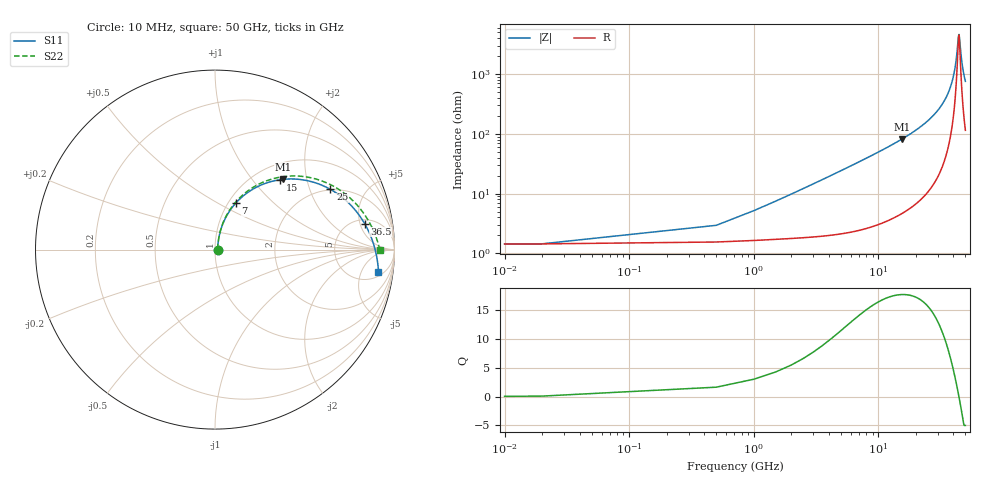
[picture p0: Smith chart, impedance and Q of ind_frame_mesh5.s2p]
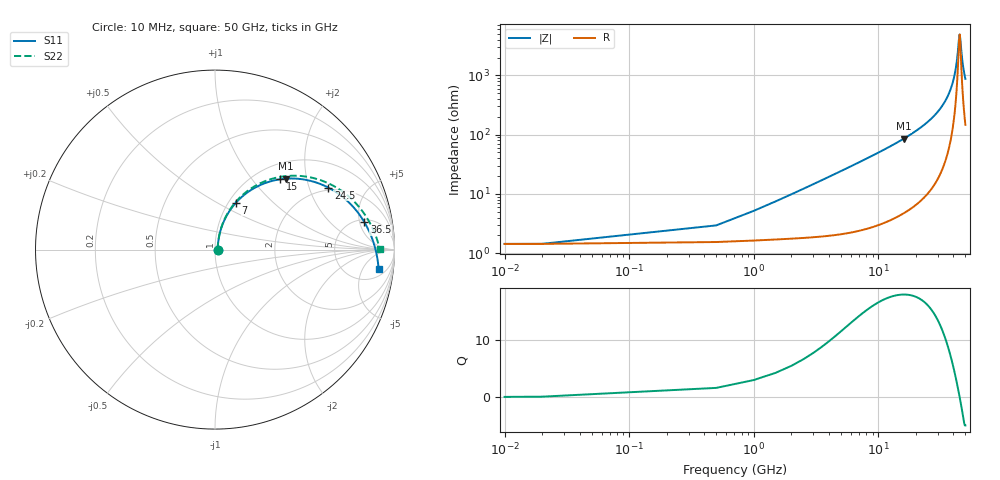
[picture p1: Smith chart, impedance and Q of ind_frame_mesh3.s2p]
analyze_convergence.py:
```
#!/usr/bin/env python
"""Mesh convergence analysis for the ind_frame spiral inductor (2-port).

Reads de-embedded 2-port Touchstone files from results/snp/, computes
delta-S tables and overlay plots across mesh variants (order=2 uniform
sweep + AMR), following the same convention as the balun and transformer
mesh convergence studies: Max|dS| is the linear complex-magnitude
difference over the common frequency band; dB readouts are given at a
few representative frequencies.

S12 is not shown separately (S12==S21 by reciprocity for this passive
2-port); only S11, S21, S22 are analyzed.
"""
import os
import csv
import numpy as np
import skrf as rf
import matplotlib
matplotlib.use("Agg")
import matplotlib.pyplot as plt

HERE = os.path.dirname(os.path.abspath(__file__))
SNP_DIR = os.path.join(HERE, "snp")
PLOT_DIR = os.path.join(HERE, "plots")

UNIFORM_SERIES = [
    ("mesh5", "5 um (uniform)", "ind_frame_mesh5.s2p"),
    ("mesh3", "3 um (uniform)", "ind_frame_mesh3.s2p"),
    ("mesh2", "2 um (uniform)", "ind_frame_mesh2.s2p"),
    ("mesh1", "1 um (uniform)", "ind_frame_mesh1.s2p"),
]
AMR_ENTRY = ("amr2", "AMR (5 um start, 2 it.)", "ind_frame_amr2_final.s2p")

EVAL_FREQS_GHZ = [1, 25, 50]  # sweep edges + midpoint, matches the 0-50 GHz sweep


def load(entry):
    key, label, fname = entry
    path = os.path.join(SNP_DIR, fname)
    if not os.path.isfile(path):
        return None
    nw = rf.Network(path)
    nw.name = label
    return key, label, nw


def db(x):
    return 20 * np.log10(np.abs(x))


def deg(x):
    return np.angle(x, deg=True)


def max_delta_linear(fa, xa, fb, xb):
    common = np.intersect1d(fa, fb)
    if common.size == 0:
        return None
    ia = np.searchsorted(fa, common)
    ib = np.searchsorted(fb, common)
    return float(np.max(np.abs(xb[ib] - xa[ia])))


def delta_db_at_freq(fa, xa, fb, xb, freq_hz):
    ia = int(np.argmin(np.abs(fa - freq_hz)))
    ib = int(np.argmin(np.abs(fb - freq_hz)))
    if abs(fa[ia] - freq_hz) > 0.6e9 or abs(fb[ib] - freq_hz) > 0.6e9:
        return None
    return float(abs(db(xb[ib]) - db(xa[ia])))


PARAMS = ["S11", "S21", "S22"]


def s_traces(nw):
    s = nw.s
    return {"S11": s[:, 0, 0], "S21": s[:, 1, 0], "S22": s[:, 1, 1]}


def main():
    loaded = []
    for entry in UNIFORM_SERIES:
        result = load(entry)
        if result:
            loaded.append(result)
        else:
            print(f"WARNING: missing {entry[2]}, skipping")
    amr_result = load(AMR_ENTRY)

    if len(loaded) < 2:
        print("Need at least two uniform-mesh results; exiting.")
        return

    traces = {}
    for key, label, nw in loaded + ([amr_result] if amr_result else []):
        traces[key] = (nw.frequency.f, s_traces(nw))

    def fmt(x):
        return f"{x:.4f}" if x is not None else "n/a"

    comparisons = [(loaded[i - 1], loaded[i]) for i in range(1, len(loaded))]
    if amr_result:
        comparisons.append((loaded[-1], amr_result))

    csv_path = os.path.join(HERE, "delta_S_table.csv")
    with open(csv_path, "w", newline="") as f:
        writer = csv.writer(f)
        writer.writerow(["Param", "Comparison", "Max|dS| (linear)"] +
                         [f"|dS_dB| at {f}GHz" for f in EVAL_FREQS_GHZ])
        for pname in PARAMS:
            for (key_a, label_a, _), (key_b, label_b, _) in comparisons:
                fa, xa = traces[key_a][0], traces[key_a][1][pname]
                fb, xb = traces[key_b][0], traces[key_b][1][pname]
                max_d = max_delta_linear(fa, xa, fb, xb)
                d_vals = [delta_db_at_freq(fa, xa, fb, xb, f * 1e9) for f in EVAL_FREQS_GHZ]
                writer.writerow([pname, f"{label_a} -> {label_b}", fmt(max_d)] + [fmt(d) for d in d_vals])
    print(f"Wrote delta-S table: {csv_path}")

    ref_key, ref_label, _ = loaded[-1]
    vs_finest = list(loaded[:-1])
    if amr_result:
        vs_finest.append(amr_result)

    csv_path_ref = os.path.join(HERE, "delta_S_vs_finest.csv")
    with open(csv_path_ref, "w", newline="") as f:
        writer = csv.writer(f)
        writer.writerow(["Param", "Mesh", f"Max|dS| vs. {ref_label} (linear)"] +
                         [f"|dS_dB| at {f}GHz" for f in EVAL_FREQS_GHZ])
        for pname in PARAMS:
            for key, label, _ in vs_finest:
                fa, xa = traces[key][0], traces[key][1][pname]
                fb, xb = traces[ref_key][0], traces[ref_key][1][pname]
                max_d = max_delta_linear(fa, xa, fb, xb)
                d_vals = [delta_db_at_freq(fa, xa, fb, xb, f * 1e9) for f in EVAL_FREQS_GHZ]
                writer.writerow([pname, label, fmt(max_d)] + [fmt(d) for d in d_vals])
    print(f"Wrote delta-S-vs-finest table: {csv_path_ref}")

    os.makedirs(PLOT_DIR, exist_ok=True)
    colors = ["#4c72b0", "#dd8452", "#55a868", "#c44e52", "#8172b2", "#937860"]
    all_keys = [k for k, _, _ in loaded] + (["amr2"] if amr_result else [])
    all_labels = {k: l for k, l, _ in loaded}
    if amr_result:
        all_labels[amr_result[0]] = amr_result[1]

    for pname in PARAMS:
        fig, (ax_mag, ax_phase) = plt.subplots(2, 1, figsize=(8, 7), sharex=True)
        for idx, key in enumerate(all_keys):
            freq, pdict = traces[key]
            color = colors[idx % len(colors)]
            style = "--" if key == "amr2" else "-"
            freq_ghz = freq / 1e9
            ax_mag.plot(freq_ghz, db(pdict[pname]), color=color, linestyle=style, label=all_labels[key])
            ax_phase.plot(freq_ghz, deg(pdict[pname]), color=color, linestyle=style, label=all_labels[key])
        ax_mag.set_ylabel(f"|{pname}| (dB)")
        ax_mag.grid(True, alpha=0.3)
        ax_mag.legend(fontsize=8)
        ax_mag.set_title(f"{pname} vs. mesh refinement")
        ax_phase.set_xlabel("Frequency (GHz)")
        ax_phase.set_ylabel(f"arg({pname}) (deg)")
        ax_phase.grid(True, alpha=0.3)
        fig.tight_layout()
        out_path = os.path.join(PLOT_DIR, f"{pname.lower()}_convergence.png")
        fig.savefig(out_path, dpi=150)
        plt.close(fig)
        print(f"Wrote plot: {out_path}")


if __name__ == "__main__":
    main()
```
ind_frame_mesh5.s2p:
! Created with skrf 2.1.0 (http://scikit-rf.org).
# GHz S DB R 50.0
! Port[1] = P1
! Port[2] = P2
!freq dBS11 angS11 dBS21 angS21 dBS12 angS12 dBS22 angS22
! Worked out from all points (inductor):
!   102 points, 10 MHz to 50 GHz, reference 50 ohm
!   read as 1/Y11, port 2 shorted: L = 765 pH near 1.5 GHz
!   highest Q = 17.6 at 15.5 GHz (marker M1), where L = 841 pH
!   self-resonance near 44 GHz
!   S11 on the Smith chart (normalised r, x): 10 MHz: 1.03, +0.00; 7 GHz: 1.08, +0.61; 15 GHz: 1.29, +1.40; 25 GHz: 1.97, +2.79; 36.5 GHz: 5.84, +5.95; 50 GHz: 7, -11
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0.01  -36.99 1.9  -0.12 -0.0  -0.12 -0.0  -36.99 2.0
1  -26.76 67.0  -0.15 -3.1  -0.15 -3.1  -26.76 67.1
2  -21.26 73.3  -0.19 -6.0  -0.19 -6.0  -21.26 73.5
4  -15.49 72.4  -0.31 -11.6  -0.31 -11.6  -15.49 72.9
7  -10.93 65.9  -0.58 -19.9  -0.58 -19.9  -10.93 66.8
15  -5.48 47.0  -1.78 -39.3  -1.78 -39.3  -5.49 49.0
15.5  -5.28 45.9  -1.87 -40.3  -1.87 -40.3  -5.29 47.9
25  -2.79 27.6  -3.73 -58.4  -3.73 -58.4  -2.80 30.9
25.5  -2.71 26.7  -3.83 -59.2  -3.83 -59.2  -2.72 30.2
36.5  -1.45 9.8  -6.18 -75.5  -6.18 -75.5  -1.46 15.0
50  -0.73 -7.7  -9.30 -92.0  -9.30 -92.0  -0.74 -0.1
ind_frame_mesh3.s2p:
! Created with skrf 2.1.0 (http://scikit-rf.org).
# GHz S DB R 50.0
! Port[1] = P1
! Port[2] = P2
!freq dBS11 angS11 dBS21 angS21 dBS12 angS12 dBS22 angS22
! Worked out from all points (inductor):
!   102 points, 10 MHz to 50 GHz, reference 50 ohm
!   read as 1/Y11, port 2 shorted: L = 774 pH near 1 GHz
!   highest Q = 18.1 at 16 GHz (marker M1), where L = 850 pH
!   self-resonance near 44.5 GHz
!   S11 on the Smith chart (normalised r, x): 10 MHz: 1.03, +0.00; 7 GHz: 1.08, +0.62; 15 GHz: 1.28, +1.41; 24.5 GHz: 1.89, +2.71; 36.5 GHz: 5.52, +5.93; 50 GHz: 8, -11
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0.01  -36.98 2.0  -0.12 -0.0  -0.12 -0.0  -36.98 2.0
1  -26.71 67.2  -0.15 -3.1  -0.15 -3.1  -26.71 67.3
2  -21.20 73.4  -0.19 -6.0  -0.19 -6.0  -21.20 73.6
4  -15.42 72.5  -0.31 -11.7  -0.31 -11.7  -15.43 72.9
7  -10.86 65.9  -0.59 -19.9  -0.59 -19.9  -10.87 66.7
15  -5.43 47.1  -1.79 -39.3  -1.79 -39.3  -5.44 48.9
16  -5.04 44.9  -1.97 -41.5  -1.97 -41.5  -5.05 46.9
24.5  -2.86 28.7  -3.64 -57.5  -3.64 -57.5  -2.87 31.7
25.5  -2.69 27.0  -3.84 -59.2  -3.84 -59.2  -2.70 30.2
36.5  -1.45 10.4  -6.15 -75.2  -6.15 -75.2  -1.46 15.2
50  -0.74 -6.7  -9.16 -91.4  -9.16 -91.4  -0.75 0.4
